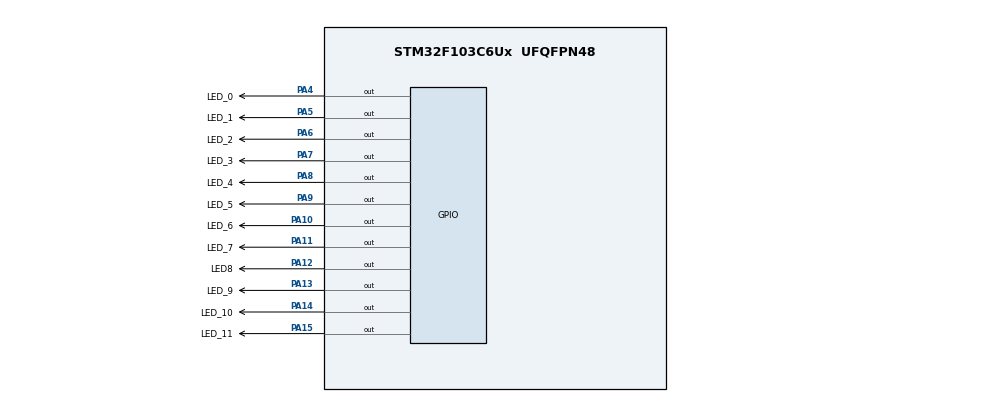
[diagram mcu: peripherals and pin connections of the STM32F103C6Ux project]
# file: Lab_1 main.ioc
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Mcu.Family=STM32F1
Mcu.Name=STM32F103C6Ux
Mcu.Package=UFQFPN48
NVIC.PriorityGroup=NVIC_PRIORITYGROUP_4
PA10.GPIO_Label=LED_6
PA10.Signal=GPIO_Output
PA11.GPIO_Label=LED_7
PA11.Signal=GPIO_Output
PA12.GPIO_Label=LED8
PA12.Signal=GPIO_Output
PA13.GPIO_Label=LED_9
PA13.Signal=GPIO_Output
PA14.GPIO_Label=LED_10
PA14.Signal=GPIO_Output
PA15.GPIO_Label=LED_11
PA15.Signal=GPIO_Output
PA4.GPIO_Label=LED_0
PA4.Signal=GPIO_Output
PA5.GPIO_Label=LED_1
PA5.Signal=GPIO_Output
PA6.GPIO_Label=LED_2
PA6.Signal=GPIO_Output
PA7.GPIO_Label=LED_3
PA7.Signal=GPIO_Output
PA8.GPIO_Label=LED_4
PA8.Signal=GPIO_Output
PA9.GPIO_Label=LED_5
PA9.Signal=GPIO_Output
ProjectManager.HeapSize=0x200
ProjectManager.StackSize=0x400
ProjectManager.TargetToolchain=STM32CubeIDE
RCC.APB1Freq_Value=8000000
RCC.APB2Freq_Value=8000000
VP_SYS_VS_ND.Mode=No_Debug
board=custom

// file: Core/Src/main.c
/* USER CODE BEGIN Header */
/**
  ******************************************************************************
  * @file           : main.c
  * @brief          : Main program body
  ******************************************************************************
  * @attention
  *
  * <h2><center>&copy; Copyright (c) 2023 STMicroelectronics.
  * All rights reserved.</center></h2>
  *
  * This software component is licensed by ST under BSD 3-Clause license,
  * the "License"; You may not use this file except in compliance with the
  * License. You may obtain a copy of the License at:
  *                        opensource.org/licenses/BSD-3-Clause
  *
  ******************************************************************************
  */
/* USER CODE END Header */
#include "main.h"

void SystemClock_Config(void);
static void MX_GPIO_Init(void);
/* USER CODE BEGIN PFP */
void clearAllClock(void);
void display_time(int num);
void setNumberOnClock (int num);
void clearNumberOnClock (int num);
/* USER CODE END PFP */

int main(void)
{
  /* USER CODE BEGIN 1 */
	int sec = 0, min = 0, hour = 0;
  /* USER CODE END 1 */

  /* MCU Configuration--------------------------------------------------------*/

  /* Reset of all peripherals, Initializes the Flash interface and the Systick. */
  HAL_Init();

  /* Configure the system clock */
  SystemClock_Config();

  /* Initialize all configured peripherals */
  MX_GPIO_Init();

  /* Infinite loop */
  while (1)
  {
	  clearAllClock();
	  if (sec == 60)
	  {
		  	  sec = 0;
		  	  min = min + 1;
	  }
	  if (min == 60)
	  {
		  	  min = 0;
		  	  hour = hour + 1;
	  }
	  if (hour == 12)
	  {
		  	  hour = 0;
	  }
	  setNumberOnClock(hour);
	  setNumberOnClock(min/5);
	  setNumberOnClock(sec/5);
	  sec = sec + 1;
    /* USER CODE BEGIN 3 */
	  HAL_Delay(1000);
  }
  /* USER CODE END 3 */
}

void SystemClock_Config(void)
{
  RCC_OscInitTypeDef RCC_OscInitStruct = {0};
  RCC_ClkInitTypeDef RCC_ClkInitStruct = {0};

  /** Initializes the RCC Oscillators according to the specified parameters
  * in the RCC_OscInitTypeDef structure.
  */
  RCC_OscInitStruct.OscillatorType = RCC_OSCILLATORTYPE_HSI;
  RCC_OscInitStruct.HSIState = RCC_HSI_ON;
  RCC_OscInitStruct.HSICalibrationValue = RCC_HSICALIBRATION_DEFAULT;
  RCC_OscInitStruct.PLL.PLLState = RCC_PLL_NONE;
  if (HAL_RCC_OscConfig(&RCC_OscInitStruct) != HAL_OK)
  {
    Error_Handler();
  }
  /** Initializes the CPU, AHB and APB buses clocks
  */
  RCC_ClkInitStruct.ClockType = RCC_CLOCKTYPE_HCLK|RCC_CLOCKTYPE_SYSCLK
                              |RCC_CLOCKTYPE_PCLK1|RCC_CLOCKTYPE_PCLK2;
  RCC_ClkInitStruct.SYSCLKSource = RCC_SYSCLKSOURCE_HSI;
  RCC_ClkInitStruct.AHBCLKDivider = RCC_SYSCLK_DIV1;
  RCC_ClkInitStruct.APB1CLKDivider = RCC_HCLK_DIV1;
  RCC_ClkInitStruct.APB2CLKDivider = RCC_HCLK_DIV1;

  if (HAL_RCC_ClockConfig(&RCC_ClkInitStruct, FLASH_LATENCY_0) != HAL_OK)
  {
    Error_Handler();
  }
}

static void MX_GPIO_Init(void)
{
  GPIO_InitTypeDef GPIO_InitStruct = {0};

  /* GPIO Ports Clock Enable */
  __HAL_RCC_GPIOA_CLK_ENABLE();

  /*Configure GPIO pin Output Level */
  HAL_GPIO_WritePin(GPIOA, LED_0_Pin|LED_1_Pin|LED_2_Pin|LED_3_Pin
                          |LED_4_Pin|LED_5_Pin|LED_6_Pin|LED_7_Pin
                          |LED8_Pin|LED_9_Pin|LED_10_Pin|LED_11_Pin, GPIO_PIN_RESET);

  /*Configure GPIO pins : LED_0_Pin LED_1_Pin LED_2_Pin LED_3_Pin
                           LED_4_Pin LED_5_Pin LED_6_Pin LED_7_Pin
                           LED8_Pin LED_9_Pin LED_10_Pin LED_11_Pin */
  GPIO_InitStruct.Pin = LED_0_Pin|LED_1_Pin|LED_2_Pin|LED_3_Pin
                          |LED_4_Pin|LED_5_Pin|LED_6_Pin|LED_7_Pin
                          |LED8_Pin|LED_9_Pin|LED_10_Pin|LED_11_Pin;
  GPIO_InitStruct.Mode = GPIO_MODE_OUTPUT_PP;
  GPIO_InitStruct.Pull = GPIO_NOPULL;
  GPIO_InitStruct.Speed = GPIO_SPEED_FREQ_LOW;
  HAL_GPIO_Init(GPIOA, &GPIO_InitStruct);

}

/* USER CODE BEGIN 4 */
void clearAllClock(void)
{
	HAL_GPIO_WritePin(LED_0_GPIO_Port, LED_0_Pin, SET);
	HAL_GPIO_WritePin(LED_1_GPIO_Port, LED_1_Pin, SET);
	HAL_GPIO_WritePin(LED_2_GPIO_Port, LED_2_Pin, SET);
	HAL_GPIO_WritePin(LED_3_GPIO_Port, LED_3_Pin, SET);
	HAL_GPIO_WritePin(LED_4_GPIO_Port, LED_4_Pin, SET);
	HAL_GPIO_WritePin(LED_5_GPIO_Port, LED_5_Pin, SET);
	HAL_GPIO_WritePin(LED_6_GPIO_Port, LED_6_Pin, SET);
	HAL_GPIO_WritePin(LED_7_GPIO_Port, LED_7_Pin, SET);
	//HAL_GPIO_WritePin(LED_8_GPIO_Port, LED_8_Pin, SET);
	HAL_GPIO_WritePin(LED8_GPIO_Port, LED8_Pin, SET);
	HAL_GPIO_WritePin(LED_9_GPIO_Port, LED_9_Pin, SET);
	HAL_GPIO_WritePin(LED_10_GPIO_Port, LED_10_Pin, SET);
	HAL_GPIO_WritePin(LED_11_GPIO_Port, LED_11_Pin, SET);
}
void display_time(int num)
{
	// clearAllClock();
	switch (num)
	{
		case 0:
		{
			HAL_GPIO_WritePin(LED_0_GPIO_Port, LED_0_Pin, RESET);
			break;
		}
		case 1:
		{
			HAL_GPIO_WritePin(LED_1_GPIO_Port, LED_1_Pin, RESET);
			break;
		}
		case 2:
		{
			HAL_GPIO_WritePin(LED_2_GPIO_Port, LED_2_Pin, RESET);
			break;
		}
		case 3:
		{
			HAL_GPIO_WritePin(LED_3_GPIO_Port, LED_3_Pin, RESET);
			break;
		}
		case 4:
		{
			HAL_GPIO_WritePin(LED_4_GPIO_Port, LED_4_Pin, RESET);
			break;
		}
		case 5:
		{
			HAL_GPIO_WritePin(LED_5_GPIO_Port, LED_5_Pin, RESET);
			break;
		}
		case 6:
		{
			HAL_GPIO_WritePin(LED_6_GPIO_Port, LED_6_Pin, RESET);
			break;
		}
		case 7:
		{
			HAL_GPIO_WritePin(LED_7_GPIO_Port, LED_7_Pin, RESET);
			break;
		}
		case 8:
		{
			//HAL_GPIO_WritePin(LED_8_GPIO_Port, LED_8_Pin, RESET);
			HAL_GPIO_WritePin(LED8_GPIO_Port, LED8_Pin, RESET);
			break;
		}
		case 9:
		{
			HAL_GPIO_WritePin(LED_9_GPIO_Port, LED_9_Pin, RESET);
			break;
		}
		case 10:
		{
			HAL_GPIO_WritePin(LED_10_GPIO_Port, LED_10_Pin, RESET);
			break;
		}
		case 11:
		{
			HAL_GPIO_WritePin(LED_11_GPIO_Port, LED_11_Pin, RESET);
			break;
		}
		default:
			break;
	}
}
void setNumberOnClock (int num)
{
	// clearAllClock();
	display_time(num);
}
void clearNumberOnClock (int num)
{
	switch (num)
	{
			case 0:
			{
				HAL_GPIO_WritePin(LED_0_GPIO_Port, LED_0_Pin, SET);
				break;
			}
			case 1:
			{
				HAL_GPIO_WritePin(LED_1_GPIO_Port, LED_1_Pin, SET);
				break;
			}
			case 2:
			{
				HAL_GPIO_WritePin(LED_2_GPIO_Port, LED_2_Pin, SET);
				break;
			}
			case 3:
			{
				HAL_GPIO_WritePin(LED_3_GPIO_Port, LED_3_Pin, SET);
				break;
			}
			case 4:
			{
				HAL_GPIO_WritePin(LED_4_GPIO_Port, LED_4_Pin, SET);
				break;
			}
			case 5:
			{
				HAL_GPIO_WritePin(LED_5_GPIO_Port, LED_5_Pin, SET);
				break;
			}
			case 6:
			{
				HAL_GPIO_WritePin(LED_6_GPIO_Port, LED_6_Pin, SET);
				break;
			}
			case 7:
			{
				HAL_GPIO_WritePin(LED_7_GPIO_Port, LED_7_Pin, SET);
				break;
			}
			case 8:
			{
				//HAL_GPIO_WritePin(LED_8_GPIO_Port, LED_8_Pin, SET);
				HAL_GPIO_WritePin(LED8_GPIO_Port, LED8_Pin, SET);
				break;
			}
			case 9:
			{
				HAL_GPIO_WritePin(LED_9_GPIO_Port, LED_9_Pin, SET);
				break;
			}
			case 10:
			{
				HAL_GPIO_WritePin(LED_10_GPIO_Port, LED_10_Pin, SET);
				break;
			}
			case 11:
			{
				HAL_GPIO_WritePin(LED_11_GPIO_Port, LED_11_Pin, SET);
				break;
			}
			default:
				break;
		}
}
/* USER CODE END 4 */

void Error_Handler(void)
{
  __disable_irq();
  while (1)
  {
  }
}

/************************ (C) COPYRIGHT STMicroelectronics *****END OF FILE****/
